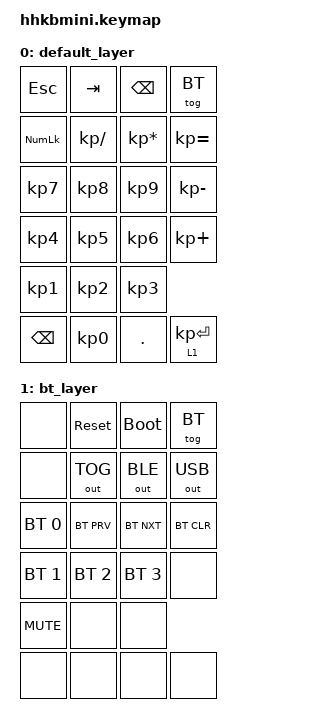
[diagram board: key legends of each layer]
#include <behaviors.dtsi>
#include <dt-bindings/zmk/keys.h>
#include <dt-bindings/zmk/bt.h>
#include <dt-bindings/zmk/outputs.h>

#define DEFAULT 0
#define FN    1

#define NONE 0

/ {

    keymap {
        compatible = "zmk,keymap";

        default_layer {
            bindings = <
                &kp ESC         &kp TAB       &kp BACKSPACE   &tog BT
                &kp KP_NUMLOCK  &kp KP_SLASH  &kp KP_ASTERISK &kp KP_EQUAL
                &kp KP_N7       &kp KP_N8     &kp KP_N9       &kp KP_MINUS
                &kp KP_N4       &kp KP_N5     &kp KP_N6       &kp KP_PLUS
                &kp KP_N1       &kp KP_N2     &kp KP_N3 
                &kp BACKSPACE   &kp KP_N0     &kp PERIOD      &lt 1 KP_ENTER
            >;

        };

         bt_layer {
             bindings = <
                &none           &sys_reset      &bootloader     &tog BT
                &none           &out OUT_TOG    &out OUT_BLE    &out OUT_USB
                &bt BT_SEL 0    &bt BT_PRV      &bt BT_NXT      &bt BT_CLR
                &bt BT_SEL 1    &bt BT_SEL 2    &bt BT_SEL 3    &none
                &kp C_MUTE      &none           &none           
                &none           &none           &none           &none
             >;
        };
    };
};
